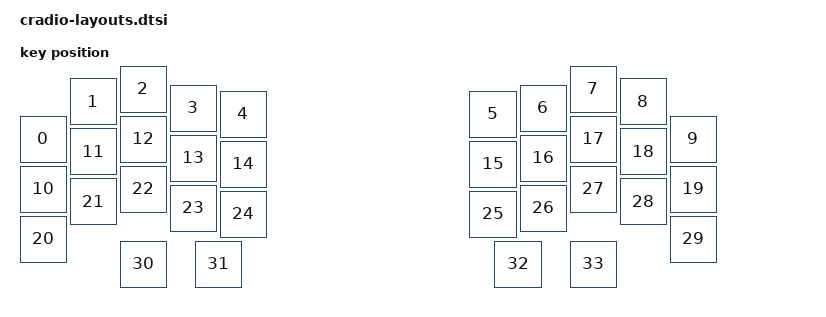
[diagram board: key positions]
/ {
    physical_layout0: physical_layout_0 {
        compatible = "zmk,physical-layout";
        display-name = "Default Layout";

        transform = <&default_transform>;

        keys  //                     w   h    x    y     rot    rx    ry
            = <&key_physical_attrs 100 100    0  100       0     0     0>
            , <&key_physical_attrs 100 100  100   25       0     0     0>
            , <&key_physical_attrs 100 100  200    0       0     0     0>
            , <&key_physical_attrs 100 100  300   38       0     0     0>
            , <&key_physical_attrs 100 100  400   50       0     0     0>
            , <&key_physical_attrs 100 100  900   50       0     0     0>
            , <&key_physical_attrs 100 100 1000   38       0     0     0>
            , <&key_physical_attrs 100 100 1100    0       0     0     0>
            , <&key_physical_attrs 100 100 1200   25       0     0     0>
            , <&key_physical_attrs 100 100 1300  100       0     0     0>
            , <&key_physical_attrs 100 100    0  200       0     0     0>
            , <&key_physical_attrs 100 100  100  125       0     0     0>
            , <&key_physical_attrs 100 100  200  100       0     0     0>
            , <&key_physical_attrs 100 100  300  138       0     0     0>
            , <&key_physical_attrs 100 100  400  150       0     0     0>
            , <&key_physical_attrs 100 100  900  150       0     0     0>
            , <&key_physical_attrs 100 100 1000  138       0     0     0>
            , <&key_physical_attrs 100 100 1100  100       0     0     0>
            , <&key_physical_attrs 100 100 1200  125       0     0     0>
            , <&key_physical_attrs 100 100 1300  200       0     0     0>
            , <&key_physical_attrs 100 100    0  300       0     0     0>
            , <&key_physical_attrs 100 100  100  225       0     0     0>
            , <&key_physical_attrs 100 100  200  200       0     0     0>
            , <&key_physical_attrs 100 100  300  238       0     0     0>
            , <&key_physical_attrs 100 100  400  250       0     0     0>
            , <&key_physical_attrs 100 100  900  250       0     0     0>
            , <&key_physical_attrs 100 100 1000  238       0     0     0>
            , <&key_physical_attrs 100 100 1100  200       0     0     0>
            , <&key_physical_attrs 100 100 1200  225       0     0     0>
            , <&key_physical_attrs 100 100 1300  300       0     0     0>
            , <&key_physical_attrs 100 100  200  350       0     0     0>
            , <&key_physical_attrs 100 100  350  350       0     0     0>
            , <&key_physical_attrs 100 100  950  350       0     0     0>
            , <&key_physical_attrs 100 100 1100  350       0     0     0>
            ;
    };
};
